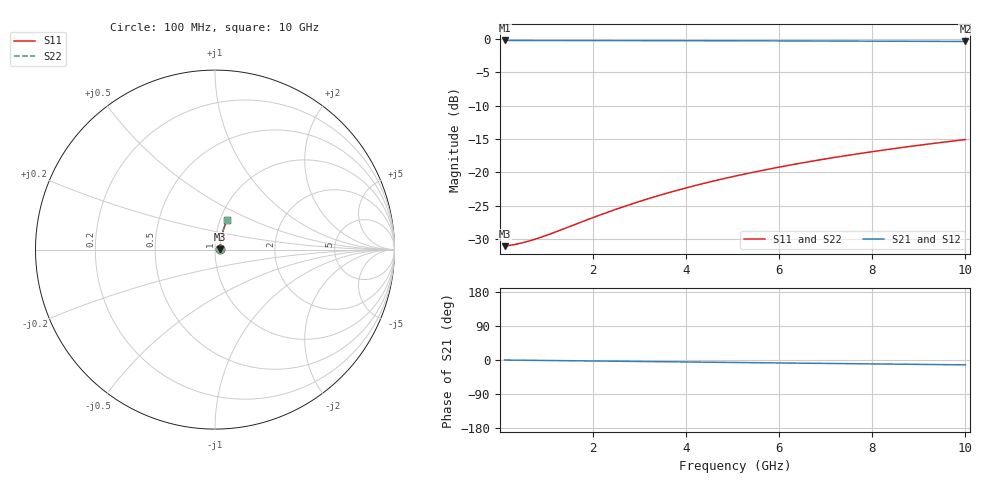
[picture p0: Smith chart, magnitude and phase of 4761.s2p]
# Hz S RI R 50.00
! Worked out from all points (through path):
!   100 points, 100 MHz to 10 GHz, reference 50 ohm
!   highest |S21| = -0.25 dB at 100 MHz (marker M1); lowest = -0.4 dB at 10 GHz (marker M2)
!   group delay of S21, straight-line fit = 3.56 ps
!   lowest |S11| = -31.1 dB at 100 MHz (marker M3), VSWR 1.06, Z = 52.9 + j0.18 ohm
!   |S11| at or under -10 dB: start of sweep to end of sweep
!   |S22| runs from -31.1 to -15.1 dB; largest |S21 - S12| = 0
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1e8  0.0278 0.0017  0.9722 -0.0022  0.9722 -0.0022  0.0278 0.0017
3e8  0.0282 0.00511  0.9718 -0.00659  0.9718 -0.00659  0.0282 0.00511
4e8  0.0283 0.00681  0.9717 -0.00879  0.9717 -0.00879  0.0283 0.00681
6e8  0.0285 0.0102  0.9714 -0.0132  0.9714 -0.0132  0.0285 0.0102
8e8  0.0288 0.0136  0.9712 -0.0176  0.9712 -0.0176  0.0288 0.0136
1.2e9  0.0293 0.0204  0.9707 -0.0263  0.9707 -0.0263  0.0293 0.0204
1.8e9  0.0302 0.0305  0.9697 -0.0394  0.9697 -0.0394  0.0302 0.0305
2.2e9  0.031 0.0373  0.969 -0.0482  0.969 -0.0482  0.031 0.0373
2.6e9  0.0318 0.044  0.9681 -0.0569  0.9681 -0.0569  0.0318 0.044
3e9  0.0328 0.0507  0.9671 -0.0656  0.9671 -0.0656  0.0328 0.0507
3.4e9  0.0338 0.0574  0.966 -0.0742  0.966 -0.0742  0.0338 0.0574
3.8e9  0.035 0.0641  0.9648 -0.0829  0.9648 -0.0829  0.035 0.0641
4.2e9  0.0363 0.0707  0.9635 -0.0915  0.9635 -0.0915  0.0363 0.0707
4.6e9  0.0377 0.0773  0.962 -0.1001  0.962 -0.1001  0.0377 0.0773
5.1e9  0.0396 0.0855  0.9601 -0.1108  0.9601 -0.1108  0.0396 0.0855
5.5e9  0.0413 0.092  0.9583 -0.1193  0.9583 -0.1193  0.0413 0.092
5.9e9  0.043 0.0985  0.9565 -0.1278  0.9565 -0.1278  0.043 0.0985
6.7e9  0.0469 0.1114  0.9525 -0.1446  0.9525 -0.1446  0.0469 0.1114
7.5e9  0.0512 0.124  0.9481 -0.1612  0.9481 -0.1612  0.0512 0.124
8.4e9  0.0566 0.138  0.9425 -0.1797  0.9425 -0.1797  0.0566 0.138
9.2e9  0.0618 0.1502  0.9371 -0.1959  0.9371 -0.1959  0.0618 0.1502
1e10  0.0674 0.1622  0.9313 -0.2118  0.9313 -0.2118  0.0674 0.1622
